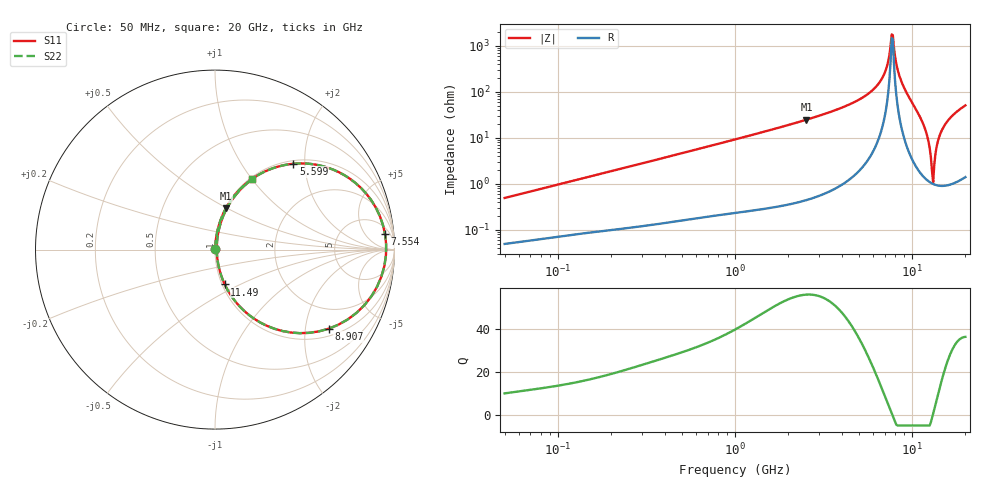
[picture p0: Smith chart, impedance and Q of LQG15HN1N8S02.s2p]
!Murata Part Number: LQG15HN1N8S02
!These Parameters are Measured in Series Mode Connection
!  o--[Z]--o
!Port1  Port2
!  o-------o
!Freq. Start=50[MHz] Stop=20[GHz], 401[Steps]
# Hz S RI R 50
!Freq.(Hz) S11(Real) S11(Imag) S21(Real) S21(Imag) S12(Real) S12(Imag) S22(Real) S22(Imag)
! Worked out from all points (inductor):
!   401 points, 50 MHz to 20 GHz, reference 50 ohm
!   read as one part in series: L = 1.53 nH near 51.52 MHz
!   highest Q = 55.9 at 2.531 GHz (marker M1), where L = 1.54 nH
!   self-resonance near 7.668 GHz
!   S11 on the Smith chart (normalised r, x): 50 MHz: 1.00, +0.01; 5.599 GHz: 1.06, +1.75; 7.554 GHz: 10, +17; 8.907 GHz: 1.23, -2.68; 11.49 GHz: 1.03, -0.42; 20 GHz: 1.03, +1.01
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5e7  0.000513 0.00486  0.9995 -0.00486  0.9995 -0.00486  0.000513 0.00486
1.364002e8  0.000985 0.0128  0.999 -0.0128  0.999 -0.0128  0.000985 0.0128
3.721004e8  0.0025 0.0341  0.9975 -0.0341  0.9975 -0.0341  0.0025 0.0341
1e9  0.0105 0.0902  0.9895 -0.0902  0.9895 -0.0902  0.0105 0.0902
2.531158e9  0.0606 0.2298  0.9394 -0.2298  0.9394 -0.2298  0.0606 0.2298
2.728004e9  0.0711 0.2481  0.9289 -0.2481  0.9289 -0.2481  0.0711 0.2481
4.212059e9  0.1961 0.3862  0.8039 -0.3862  0.8039 -0.3862  0.1961 0.3862
5.598765e9  0.4364 0.4783  0.5636 -0.4783  0.5636 -0.4783  0.4364 0.4783
6.802353e9  0.7832 0.3708  0.2168 -0.3708  0.2168 -0.3708  0.7832 0.3708
7.442007e9  0.9353 0.1386  0.0647 -0.1386  0.0647 -0.1386  0.9353 0.1386
7.554318e9  0.9475 0.0851  0.0525 -0.0851  0.0525 -0.0851  0.9475 0.0851
7.784049e9  0.9526 -0.0303  0.0474 0.0303  0.0474 0.0303  0.9526 -0.0303
8.389408e9  0.8326 -0.3094  0.1674 0.3094  0.1674 0.3094  0.8326 -0.3094
8.907419e9  0.633 -0.4408  0.367 0.4408  0.367 0.4408  0.633 -0.4408
1.004137e10  0.2529 -0.4066  0.7471 0.4066  0.7471 0.4066  0.2529 -0.4066
1.149051e10  0.0543 -0.194  0.9457 0.194  0.9457 0.194  0.0543 -0.194
1.220001e10  0.0221 -0.1009  0.9779 0.1009  0.9779 0.1009  0.0221 -0.1009
1.276073e10  0.0117 -0.0363  0.9883 0.0363  0.9883 0.0363  0.0117 -0.0363
1.314879e10  0.00976 0.00414  0.9902 -0.00414  0.9902 -0.00414  0.00976 0.00414
1.417136e10  0.0184 0.0964  0.9816 -0.0964  0.9816 -0.0964  0.0184 0.0964
1.504638e10  0.0361 0.1621  0.9639 -0.1621  0.9639 -0.1621  0.0361 0.1621
2e10  0.2087 0.3928  0.7913 -0.3928  0.7913 -0.3928  0.2087 0.3928
